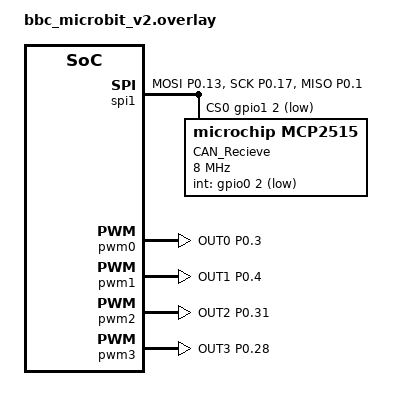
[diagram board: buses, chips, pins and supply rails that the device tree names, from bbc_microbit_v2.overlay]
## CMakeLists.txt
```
cmake_minimum_required(VERSION 3.20.0)
find_package(Zephyr REQUIRED HINTS $ENV{ZEPHYR_BASE})

project(motor_controller)

target_sources(app PRIVATE src/main.c src/can_send.c src/can_receive.c src/can_dev.c src/pwm.c src/motor_controller.c)
```

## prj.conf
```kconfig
CONFIG_SPI=y
CONFIG_GPIO=y
CONFIG_CAN=y
CONFIG_CAN_MCP2515=y
CONFIG_STDOUT_CONSOLE=y
CONFIG_PWM=y
CONFIG_PWM_LOG_LEVEL_DBG=y
```

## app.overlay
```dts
&pinctrl {
    pwm0_default_alt: pwm0_default_alt {
        group1  {
            psels = <NRF_PSEL(PWM_OUT0,0,2)>;
            nordic,invert;
        };
    };
    pwm0_sleep_alt: pwm0_sleep_alt_alt {
        group1  {
            psels = <NRF_PSEL(PWM_OUT0,0,2)>;
            low-power-enable;
        };
    };
	pwm1_default_alt: pwm1_default_alt {
        group1  {
            psels = <NRF_PSEL(PWM_OUT1,0,3)>;
            nordic,invert;
        };
    };
    pwm1_sleep_alt: pwm1_sleep_alt_alt {
        group1  {
            psels = <NRF_PSEL(PWM_OUT1,0,3)>;
            low-power-enable;
        };
    };
	pwm2_default_alt: pwm2_default_alt {
        group1  {
            psels = <NRF_PSEL(PWM_OUT2,0,4)>;
            nordic,invert;
        };
    };
    pwm2_sleep_alt: pwm2_sleep_alt_alt {
        group1  {
            psels = <NRF_PSEL(PWM_OUT2,0,4)>;
            low-power-enable;
        };
    };
	pwm3_default_alt: pwm3_default_alt {
        group1  {
            psels = <NRF_PSEL(PWM_OUT3,0,31)>;
            nordic,invert;
        };
    };
    pwm3_sleep_alt: pwm3_sleep_alt_alt {
        group1  {
            psels = <NRF_PSEL(PWM_OUT3,0,31)>;
            low-power-enable;
        };
    };
};


&pwm0 {
	status = "okay";
	//ch0-pin = <3>; // P0.3 is labelled RING1 on the microbit. (connected to pin 1 in breakout board)
    pinctrl-0 = <&pwm0_default_alt>;
    pinctrl-1 = <&pwm0_sleep_alt>;
    pinctrl-names = "default", "sleep";

    label="PWM_0";
};
&pwm1 {
	status = "okay";
	//ch0-pin = <3>; // P0.3 is labelled RING1 on the microbit. (connected to pin 1 in breakout board)
    pinctrl-0 = <&pwm1_default_alt>;
    pinctrl-1 = <&pwm1_sleep_alt>;
    pinctrl-names = "default", "sleep";

    label="PWM_1";
};
&pwm2 {
	status = "okay";
	//ch0-pin = <3>; // P0.3 is labelled RING1 on the microbit. (connected to pin 1 in breakout board)
    pinctrl-0 = <&pwm2_default_alt>;
    pinctrl-1 = <&pwm2_sleep_alt>;
    pinctrl-names = "default", "sleep";

    label="PWM_2";
};
&pwm3 {
	status = "okay";
	//ch0-pin = <3>; // P0.3 is labelled RING1 on the microbit. (connected to pin 1 in breakout board)
    pinctrl-0 = <&pwm3_default_alt>;
    pinctrl-1 = <&pwm3_sleep_alt>;
    pinctrl-names = "default", "sleep";

    label="PWM_3";
};
```

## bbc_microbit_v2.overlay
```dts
&spi1 {
	status = "okay";
	pinctrl-0 = <&spi1_default>;
	pinctrl-names = "default";
	cs-gpios = <&gpio1 2 GPIO_ACTIVE_LOW>;
	mcp2515_can: mcp2515@0 {
		compatible = "microchip,mcp2515";
        spi-max-frequency = <8000000>;
        int-gpios = <&gpio0 2 GPIO_ACTIVE_LOW>;
        status = "okay";
		label = "CAN_Recieve";
		reg = <0x0>;
		osc-freq = <16000000>;
		bus-speed = <125000>;
		sjw = <1>;
		prop-seg = <2>;
		phase-seg1 = <7>;
		phase-seg2 = <6>;
		#address-cells = <1>;
		#size-cells = <0>;

	};


};

&pinctrl {
	spi1_default: spi1_default {
		group1 {
			psels = <NRF_PSEL(SPIM_MOSI, 0, 13)>,
					<NRF_PSEL(SPIM_SCK, 0, 17)>,
					<NRF_PSEL(SPIM_MISO, 0, 1)>;
		};
	};
    pwm0_default_alt: pwm0_default_alt {
        group1  {
            psels = <NRF_PSEL(PWM_OUT0,0,3)>;
            nordic,invert;
        };
    };
    pwm0_sleep_alt: pwm0_sleep_alt_alt {
        group1  {
            psels = <NRF_PSEL(PWM_OUT0,0,3)>;
            low-power-enable;
        };
    };
	pwm1_default_alt: pwm1_default_alt {
        group1  {
            psels = <NRF_PSEL(PWM_OUT1,0,4)>;
            nordic,invert;
        };
    };
    pwm1_sleep_alt: pwm1_sleep_alt_alt {
        group1  {
            psels = <NRF_PSEL(PWM_OUT1,0,4)>;
            low-power-enable;
        };
    };
	pwm2_default_alt: pwm2_default_alt {
        group1  {
            psels = <NRF_PSEL(PWM_OUT2,0,31)>;
            nordic,invert;
        };
    };
    pwm2_sleep_alt: pwm2_sleep_alt_alt {
        group1  {
            psels = <NRF_PSEL(PWM_OUT2,0,31)>;
            low-power-enable;
        };
    };
	pwm3_default_alt: pwm3_default_alt {
        group1  {
            psels = <NRF_PSEL(PWM_OUT3,0,28)>;
            nordic,invert;
        };
    };
    pwm3_sleep_alt: pwm3_sleep_alt_alt {
        group1  {
            psels = <NRF_PSEL(PWM_OUT3,0,28)>;
            low-power-enable;
        };
    };
};

&pwm0 {
	status = "okay";
	//ch0-pin = <3>; // P0.3 is labelled RING1 on the microbit. (connected to pin 1 in breakout board)
    pinctrl-0 = <&pwm0_default_alt>;
    pinctrl-1 = <&pwm0_sleep_alt>;
    pinctrl-names = "default", "sleep";

    label="PWM_0";
};
&pwm1 {
	status = "okay";
	//ch0-pin = <3>; // P0.3 is labelled RING1 on the microbit. (connected to pin 1 in breakout board)
    pinctrl-0 = <&pwm1_default_alt>;
    pinctrl-1 = <&pwm1_sleep_alt>;
    pinctrl-names = "default", "sleep";

    label="PWM_1";
};
&pwm2 {
	status = "okay";
	//ch0-pin = <3>; // P0.3 is labelled RING1 on the microbit. (connected to pin 1 in breakout board)
    pinctrl-0 = <&pwm2_default_alt>;
    pinctrl-1 = <&pwm2_sleep_alt>;
    pinctrl-names = "default", "sleep";

    label="PWM_2";
};
&pwm3 {
	status = "okay";
	//ch0-pin = <3>; // P0.3 is labelled RING1 on the microbit. (connected to pin 1 in breakout board)
    pinctrl-0 = <&pwm3_default_alt>;
    pinctrl-1 = <&pwm3_sleep_alt>;
    pinctrl-names = "default", "sleep";

    label="PWM_3";
};

/ {
    chosen {
        zephyr,canbus = &mcp2515_can;
    };
};
```

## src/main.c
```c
#include <zephyr/kernel.h>
#include <zephyr/drivers/can.h>
#include <zephyr/drivers/gpio.h>
#include <zephyr/drivers/spi.h>
#include <zephyr/device.h>
#include <stdbool.h>
#include <string.h>
#include <stdio.h>
#include "can_send.h"
#include "can_receive.h"
#include "can_dev.h"
#include "pwm.h"
#include "motor_controller.h"

void process_can_data(void) {
    struct can_ret_data received_data;
    if (k_msgq_get(&can_msgq, &received_data, K_FOREVER) == 0) {
        printk("Processing CAN data: Bool=%d, Degree=%d, Speed=%d\n",
        received_data.js_bool_data,
        received_data.js_deg_int_data,
        received_data.js_spd_int_data);
        // Process your motor control logic here
        control_motors(received_data.js_deg_int_data, received_data.js_spd_int_data, received_data.js_bool_data);
    }
}

void main(void) {
    //printf("In main\n");
    const struct device *const can_dev = get_can_dev();
    

    if (!can_dev) {
        printk("Cannot find CAN device!\n");
        return;
    }
    /*else{
        printf("Can device found!\n");
    }*/
    
    enum can_state state;
    struct can_bus_err_cnt err_cnt;

    int ret = can_start(can_dev);
    if (ret != 0) {
        printf("Failed to start CAN controller: Error %d\n", ret);
        return;
    } /*else {
        printf("CAN controller started successfully\n");
    }*/

    if (setup_can_filter(can_dev, can_rx_callback, NULL) < 0) {
        printk("Failed to add CAN filter\n");
        return;
    }

    int ret2 = pwm_begin();
    if(ret2 < 0){
        printf("\nError initializing PWM. Error code = %d\n", ret2);
        while(1);
    }
    k_msleep(100);

    while (1) {
        //printf("In the while loop\n");

        if (can_get_state(can_dev, &state, &err_cnt) != 0) {
            printk("Failed to get CAN state\n");
        } else {
        printf("CAN State: %s\n", can_state_to_str(state));
        printf("TX Errors: %d, RX Errors: %d\n", err_cnt.tx_err_cnt, err_cnt.rx_err_cnt);
        }

        process_can_data();
        send_string(can_dev, "Hello");
        k_sleep(K_SECONDS(1)); // Sleep forever, letting the callback handle messages
    }
}
```

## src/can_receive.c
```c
#include <zephyr/kernel.h>
#include <zephyr/drivers/can.h>
#include <zephyr/drivers/spi.h>
#include <zephyr/drivers/gpio.h>
#include <zephyr/device.h>
#include <stdbool.h>
#include <string.h>
#include "can_receive.h"
#include "can_dev.h"


K_MSGQ_DEFINE(can_msgq, sizeof(struct can_ret_data), CAN_MSGQ_SIZE, 4);

int setup_can_filter(const struct device *dev, can_rx_callback_t rx_cb, void *cb_data){
    struct can_filter filter = {
        .flags = CAN_FILTER_DATA | CAN_FILTER_IDE,
	    .id = RECEIVE_ID,
	    .mask = CAN_EXT_ID_MASK
    };
    return can_add_rx_filter(dev, rx_cb, cb_data, &filter);
}

void can_rx_callback(const struct device *dev, struct can_frame *frame, void *user_data) {
    printk("Received frame with ID: 0x%x\n", frame->id);
    if (frame->dlc == 5) { // Expecting 5 byte of data
        struct can_ret_data js_data;
        
         js_data.js_bool_data = (frame->data[0] != 0);  // True if non-zero, false otherwise

        // Convert int16_t to int (assuming the system is little-endian or matching endianness)
        int16_t js_deg_int, js_spd_int;
        memcpy(&js_deg_int, &frame->data[1], sizeof(js_deg_int));
        memcpy(&js_spd_int, &frame->data[3], sizeof(js_spd_int));
        
        js_data.js_deg_int_data = js_deg_int;  // Automatic promotion to int
        js_data.js_spd_int_data = js_spd_int;  // Automatic promotion to int

        printk("Received data: js_bool=%d, js_deg=%d, js_spd=%d\n",
               js_data.js_bool_data, js_data.js_deg_int_data, js_data.js_spd_int_data);

        if (k_msgq_put(&can_msgq, &js_data, K_NO_WAIT) != 0) {
            printk("Failed to put data in queue\n");
        }
    }
}
```

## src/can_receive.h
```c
#ifndef CAN_RECEIVE_H
#define CAN_RECEIVE_H

#define RECEIVE_ID 0x0000001 // RECEIVE ID
#define CAN_MSGQ_SIZE 10

struct can_ret_data {
    bool js_bool_data;     // Converted from uint8_t to bool
    int js_deg_int_data;   // Converted from int16_t to int
    int js_spd_int_data;   // Converted from int16_t to int
};

extern struct k_msgq can_msgq;

int setup_can_filter(const struct device *dev, can_rx_callback_t rx_cb, void *cb_data);

void can_rx_callback(const struct device *dev, struct can_frame *frame, void *user_data);

#endif
```

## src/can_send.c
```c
#include <zephyr/kernel.h>
#include <zephyr/drivers/can.h>
#include <zephyr/drivers/spi.h>
#include <zephyr/drivers/gpio.h>
#include <zephyr/device.h>
#include <stdbool.h>
#include <string.h>
#include "can_send.h"
#include "can_dev.h"

/* Function to convert CAN state to readable string */
const char* can_state_to_str(enum can_state state) {
    switch (state) {
        case CAN_STATE_ERROR_ACTIVE:
            return "ERROR ACTIVE";
        case CAN_STATE_ERROR_WARNING:
            return "ERROR WARNING";
        case CAN_STATE_ERROR_PASSIVE:
            return "ERROR PASSIVE";
        case CAN_STATE_BUS_OFF:
            return "BUS OFF";
        case CAN_STATE_STOPPED:
            return "STOPPED";
        default:
            return "UNKNOWN";
    }
}

void send_string(const struct device *can_dev, const char *str){
    struct can_frame frame;
    memset(&frame, 0, sizeof(frame));

    frame.flags = CAN_FRAME_IDE; // Use extended identifier
    frame.id = MSG_ID;
    frame.dlc = strlen(str);  // Set the DLC to the string length
    memcpy(frame.data, str, frame.dlc);  // Copy string to CAN frame data field

    if (can_send(can_dev, &frame, K_SECONDS(10), NULL, NULL) != 0) {
            printk("Failed to send frame\n");
        } /*else {
            printk("Frame sent\n");
        }*/
}
```

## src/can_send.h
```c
#ifndef CAN_SEND_H
#define CAN_SEND_H

#define MSG_ID 0x0000002 // Message ID

const char* can_state_to_str(enum can_state state);
void send_string(const struct device *can_dev, const char *str);

#endif // CAN_UTILS_H
```

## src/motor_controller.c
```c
#include "pwm.h"
#include "motor_controller.h"
#include <stdio.h>
#include <stdbool.h>


// Function to control motors based on joystick input
int control_motors(int angle, int speed, bool joystick_nr)
{
    if (joystick_nr == true){

        if (speed > 10){
        // Determine motor control based on angle
        if (angle >= 68 && angle < 113) {
            // Forward motion
            // Adjust speed based on joystick radius
            pwm_write(MOTOR_FRONT_LEFT, (uint32_t)(speed_to_ds(mapValue(speed, 1))));
            pwm_write(MOTOR_FRONT_RIGHT,(uint32_t)(speed_to_ds(mapValue(speed, 1))));
            pwm_write(MOTOR_REAR_LEFT, (uint32_t)(speed_to_ds(mapValue(speed, 1))));
            pwm_write(MOTOR_REAR_RIGHT, (uint32_t)(speed_to_ds(mapValue(speed, 1))));
            printf("FORWARD\n");

        } else if(angle >= 113 && angle < 158){
            // Diagonal left-forward motion
            pwm_write(MOTOR_FRONT_LEFT, (uint32_t)(speed_to_ds(mapValue(speed, 1))));
            pwm_write(MOTOR_FRONT_RIGHT,(uint32_t)(speed_to_ds(mapValue(0, 1))));
            pwm_write(MOTOR_REAR_LEFT, (uint32_t)(speed_to_ds(mapValue(0, 1))));
            pwm_write(MOTOR_REAR_RIGHT, (uint32_t)(speed_to_ds(mapValue(speed, 1))));
            printf("Right-Forward diagonal");

        } else if (angle >= 158 && angle < 203) {
            // Left strafe motion
            // Implement left strafe motor control
            pwm_write(MOTOR_FRONT_LEFT, (uint32_t)(speed_to_ds(mapValue(speed, 1))));
            pwm_write(MOTOR_FRONT_RIGHT,(uint32_t)(speed_to_ds(mapValue(speed, 2))));
            pwm_write(MOTOR_REAR_LEFT, (uint32_t)(speed_to_ds(mapValue(speed, 2))));
            pwm_write(MOTOR_REAR_RIGHT, (uint32_t)(speed_to_ds(mapValue(speed, 1))));
            printf("RIGHT STRAFE\n");

        } else if (angle >= 203 && angle < 248){
            //Diagonal left-backward motion
            pwm_write(MOTOR_FRONT_LEFT, (uint32_t)(speed_to_ds(mapValue(0, 2))));
            pwm_write(MOTOR_FRONT_RIGHT,(uint32_t)(speed_to_ds(mapValue(speed, 2))));
            pwm_write(MOTOR_REAR_LEFT, (uint32_t)(speed_to_ds(mapValue(speed, 2))));
            pwm_write(MOTOR_REAR_RIGHT, (uint32_t)(speed_to_ds(mapValue(0, 2))));
            printf("Right-Backward diagonal");

        } else if (angle >= 248 && angle < 292) {
            // Backward motion
            // Implement backward motor control
            pwm_write(MOTOR_FRONT_LEFT, (uint32_t)(speed_to_ds(mapValue(speed, 2))));
            pwm_write(MOTOR_FRONT_RIGHT,(uint32_t)(speed_to_ds(mapValue(speed, 2))));
            pwm_write(MOTOR_REAR_LEFT, (uint32_t)(speed_to_ds(mapValue(speed, 2))));
            pwm_write(MOTOR_REAR_RIGHT, (uint32_t)(speed_to_ds(mapValue(speed, 2))));
            printf("BACKWARDS\n");

        } else if (angle >= 292 && angle < 337) {
            //Diagonal right-backward motion
            pwm_write(MOTOR_FRONT_LEFT, (uint32_t)(speed_to_ds(mapValue(speed, 2))));
            pwm_write(MOTOR_FRONT_RIGHT,(uint32_t)(speed_to_ds(mapValue(0, 2))));
            pwm_write(MOTOR_REAR_LEFT, (uint32_t)(speed_to_ds(mapValue(0, 2))));
            pwm_write(MOTOR_REAR_RIGHT, (uint32_t)(speed_to_ds(mapValue(speed, 2))));
            printf("Left-Backward diagonal");

        } else if ((angle >= 337 && angle < 360) || (angle > 0 && angle < 22)){
            // Right strafe motion
            // Implement right strafe motor control
            pwm_write(MOTOR_FRONT_LEFT, (uint32_t)(speed_to_ds(mapValue(speed, 2))));
            pwm_write(MOTOR_FRONT_RIGHT,(uint32_t)(speed_to_ds(mapValue(speed, 1))));
            pwm_write(MOTOR_REAR_LEFT, (uint32_t)(speed_to_ds(mapValue(speed, 1))));
            pwm_write(MOTOR_REAR_RIGHT, (uint32_t)(speed_to_ds(mapValue(speed, 2))));
            printf("LEFT STRAFE\n");

        } else if (angle >= 22 && angle < 68){
            // diagonal right-forward motion
            pwm_write(MOTOR_FRONT_LEFT, (uint32_t)(speed_to_ds(mapValue(0, 1))));
            pwm_write(MOTOR_FRONT_RIGHT,(uint32_t)(speed_to_ds(mapValue(speed, 1))));
            pwm_write(MOTOR_REAR_LEFT, (uint32_t)(speed_to_ds(mapValue(speed, 1))));
            pwm_write(MOTOR_REAR_RIGHT, (uint32_t)(speed_to_ds(mapValue(0, 1))));
            printf("Left-Forward diagonal");

        }

    }
    
    else {
        pwm_write(MOTOR_FRONT_LEFT, (uint32_t)(speed_to_ds(mapValue(0, 1))));
        pwm_write(MOTOR_FRONT_RIGHT,(uint32_t)(speed_to_ds(mapValue(0, 1))));
        pwm_write(MOTOR_REAR_LEFT, (uint32_t)(speed_to_ds(mapValue(0, 1))));
        pwm_write(MOTOR_REAR_RIGHT, (uint32_t)(speed_to_ds(mapValue(0, 1))));
        printf("Standing still\n");
    }

    // Return 0 to indicate success
    return 0;
    }


    else if(joystick_nr == false){
        if (speed > 10){
            if ((angle <= 90 && angle >= 0) || (angle >= 270 && angle <= 360)){
            //Right rotate?
                pwm_write(MOTOR_FRONT_LEFT, (uint32_t)(speed_to_ds(mapValue(speed, 1))));
                pwm_write(MOTOR_FRONT_RIGHT,(uint32_t)(speed_to_ds(mapValue(speed, 2))));
                pwm_write(MOTOR_REAR_LEFT, (uint32_t)(speed_to_ds(mapValue(speed, 1))));
                pwm_write(MOTOR_REAR_RIGHT, (uint32_t)(speed_to_ds(mapValue(speed, 2))));
                printf("RIGHT Rotate\n");
            } 
            else if (angle > 90 && angle < 270){
            //Left rotate?
                pwm_write(MOTOR_FRONT_LEFT, (uint32_t)(speed_to_ds(mapValue(speed, 2))));
                pwm_write(MOTOR_FRONT_RIGHT,(uint32_t)(speed_to_ds(mapValue(speed, 1))));
                pwm_write(MOTOR_REAR_LEFT, (uint32_t)(speed_to_ds(mapValue(speed, 2))));
                pwm_write(MOTOR_REAR_RIGHT, (uint32_t)(speed_to_ds(mapValue(speed, 1))));
                printf("LEFT Rotate\n");
                }
            else {
                pwm_write(MOTOR_FRONT_LEFT, (uint32_t)(speed_to_ds(mapValue(0, 1))));
                pwm_write(MOTOR_FRONT_RIGHT,(uint32_t)(speed_to_ds(mapValue(0, 1))));
                pwm_write(MOTOR_REAR_LEFT, (uint32_t)(speed_to_ds(mapValue(0, 1))));
                pwm_write(MOTOR_REAR_RIGHT, (uint32_t)(speed_to_ds(mapValue(0, 1))));
                printf("Standing still\n");
                }
        }
        return 0;
    }
    

    // Return 0 to indicate success
    return 0;
}

int speed_to_ds(int duty_cycle){
    int number = 40000000;
    int speedy = ((duty_cycle * (number / 10)) / 10);
    return speedy;
}

int mapValue(int value, int direction)
{
    int minValue = 50;
    int value1 = value * 0.4;
    if (direction == 1){
        int duty_cycle = minValue + value1;
        return duty_cycle;
    }
    else if (direction == 2){
        int duty_cycle = minValue - value1;
        return duty_cycle;
    }
    else{
        //duty cycle for standing still
        return 50;
    }
}
```

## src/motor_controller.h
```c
#ifndef MOTOR_CONTROLLER_H
#define MOTOR_CONTROLLER_H
#include <stdbool.h>
// Function prototypes
int control_motors(int angle, int speed, bool joystick_nr);
int mapValue(int value, int direction);
int speed_to_ds(int duty_cycle);

#endif
```

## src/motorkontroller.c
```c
#include "pwm.h"
#include "motorkontroller.h"
#include <stdio.h>
#include <stdbool.h>


// Function to control motors based on joystick input
int control_motors(int angle, int speed, bool joystick_nr)
{
    if (joystick_nr == true){

        if (speed > 10){
        // Determine motor control based on angle
            if (angle >= 68 && angle < 113) {
            // Forward motion
            // Adjust speed based on joystick radius
                pwm_write(MOTOR_FRONT_LEFT, (uint32_t)(mapValue(speed, 1)));
                pwm_write(MOTOR_FRONT_RIGHT,(uint32_t)(mapValue(speed, 1)));
                pwm_write(MOTOR_REAR_LEFT, (uint32_t)(mapValue(speed, 1)));
                pwm_write(MOTOR_REAR_RIGHT, (uint32_t)(mapValue(speed, 1)));
                printf("FORWARD\n");

            } else if(angle >= 113 && angle < 158){
            // Diagonal left-forward motion
                pwm_write(MOTOR_FRONT_LEFT, (uint32_t)(mapValue(speed, 1)));
                pwm_write(MOTOR_FRONT_RIGHT,(uint32_t)(mapValue(0, 1)));
                pwm_write(MOTOR_REAR_LEFT, (uint32_t)(mapValue(0, 1)));
                pwm_write(MOTOR_REAR_RIGHT, (uint32_t)(mapValue(speed, 1)));
                printf("Right-Forward diagonal");

            } else if (angle >= 158 && angle < 203) {
            // Left strafe motion
            // Implement left strafe motor control
                pwm_write(MOTOR_FRONT_LEFT, (uint32_t)(mapValue(speed, 1)));
                pwm_write(MOTOR_FRONT_RIGHT,(uint32_t)(mapValue(speed, 2)));
                pwm_write(MOTOR_REAR_LEFT, (uint32_t)(mapValue(speed, 2)));
                pwm_write(MOTOR_REAR_RIGHT, (uint32_t)(mapValue(speed, 1)));
                printf("RIGHT STRAFE\n");

            } else if (angle >= 203 && angle < 248){
            //Diagonal left-backward motion
                pwm_write(MOTOR_FRONT_LEFT, (uint32_t)(mapValue(0, 2)));
                pwm_write(MOTOR_FRONT_RIGHT,(uint32_t)(mapValue(speed, 2)));
                pwm_write(MOTOR_REAR_LEFT, (uint32_t)(mapValue(speed, 2)));
                pwm_write(MOTOR_REAR_RIGHT, (uint32_t)(mapValue(0, 2)));
                printf("Right-Backward diagonal");

            } else if (angle >= 248 && angle < 292) {
            // Backward motion
            // Implement backward motor control
                pwm_write(MOTOR_FRONT_LEFT, (uint32_t)(mapValue(speed, 2)));
                pwm_write(MOTOR_FRONT_RIGHT,(uint32_t)(mapValue(speed, 2)));
                pwm_write(MOTOR_REAR_LEFT, (uint32_t)(mapValue(speed, 2)));
                pwm_write(MOTOR_REAR_RIGHT, (uint32_t)(mapValue(speed, 2)));
                printf("BACKWARDS\n");

            } else if (angle >= 292 && angle < 337) {
            //Diagonal right-backward motion
                pwm_write(MOTOR_FRONT_LEFT, (uint32_t)(mapValue(speed, 2)));
                pwm_write(MOTOR_FRONT_RIGHT,(uint32_t)(mapValue(0, 2)));
                pwm_write(MOTOR_REAR_LEFT, (uint32_t)(mapValue(0, 2)));
                pwm_write(MOTOR_REAR_RIGHT, (uint32_t)(mapValue(speed, 2)));
                printf("Left-Backward diagonal");

            } else if ((angle >= 337 && angle < 360) || (angle > 0 && angle < 22)){
            // Right strafe motion
            // Implement right strafe motor control
                pwm_write(MOTOR_FRONT_LEFT, (uint32_t)(mapValue(speed, 2)));
                pwm_write(MOTOR_FRONT_RIGHT,(uint32_t)(mapValue(speed, 1)));
                pwm_write(MOTOR_REAR_LEFT, (uint32_t)(mapValue(speed, 1)));
                pwm_write(MOTOR_REAR_RIGHT, (uint32_t)(mapValue(speed, 2)));
                printf("LEFT STRAFE\n");

            } else if (angle >= 22 && angle < 68){
            // diagonal right-forward motion
                pwm_write(MOTOR_FRONT_LEFT, (uint32_t)(mapValue(0, 1)));
                pwm_write(MOTOR_FRONT_RIGHT,(uint32_t)(mapValue(speed, 1)));
                pwm_write(MOTOR_REAR_LEFT, (uint32_t)(mapValue(speed, 1)));
                pwm_write(MOTOR_REAR_RIGHT, (uint32_t)(mapValue(0, 1)));
                printf("Left-Forward diagonal");

            }

        }
    
        else {
            pwm_write(MOTOR_FRONT_LEFT, (uint32_t)(mapValue(0, 1)));
            pwm_write(MOTOR_FRONT_RIGHT,(uint32_t)(mapValue(0, 1)));
            pwm_write(MOTOR_REAR_LEFT, (uint32_t)(mapValue(0, 1)));
            pwm_write(MOTOR_REAR_RIGHT, (uint32_t)(mapValue(0, 1)));
            printf("Standing still\n");
        }
    }

    else if(joystick_nr == false){
        if (speed > 10){
            if ((angle <= 90 && angle <= 0) || (angle >= 270 && angle <= 360)){
            //Right rotate?
            pwm_write(MOTOR_FRONT_LEFT, (uint32_t)(mapValue(speed, 1)));
            pwm_write(MOTOR_FRONT_RIGHT,(uint32_t)(mapValue(speed, 2)));
            pwm_write(MOTOR_REAR_LEFT, (uint32_t)(mapValue(speed, 1)));
            pwm_write(MOTOR_REAR_RIGHT, (uint32_t)(mapValue(speed, 2)));
            printf("RIGHT Rotate\n");
            } 
        else if (angle > 90 && angle <= 270){
            //Left rotate?
            pwm_write(MOTOR_FRONT_LEFT, (uint32_t)(mapValue(speed, 2)));
            pwm_write(MOTOR_FRONT_RIGHT,(uint32_t)(mapValue(speed, 1)));
            pwm_write(MOTOR_REAR_LEFT, (uint32_t)(mapValue(speed, 2)));
            pwm_write(MOTOR_REAR_RIGHT, (uint32_t)(mapValue(speed, 1)));
            printf("LEFT Rotate\n");
            }
        }
    }
    

    // Return 0 to indicate success
    return 0;
}

int mapValue(int value, int direction)
{
    int minValue = 50;
    int value1 = value * 0.4;
    if (direction == 1){
        int duty_cycle = minValue + value1;
        return duty_cycle;
    }
    else if (direction == 2){
        int duty_cycle = minValue - value1;
        return duty_cycle;
    }
    else{
        //duty cycle for standing still
        return 50;
    }
}
```
